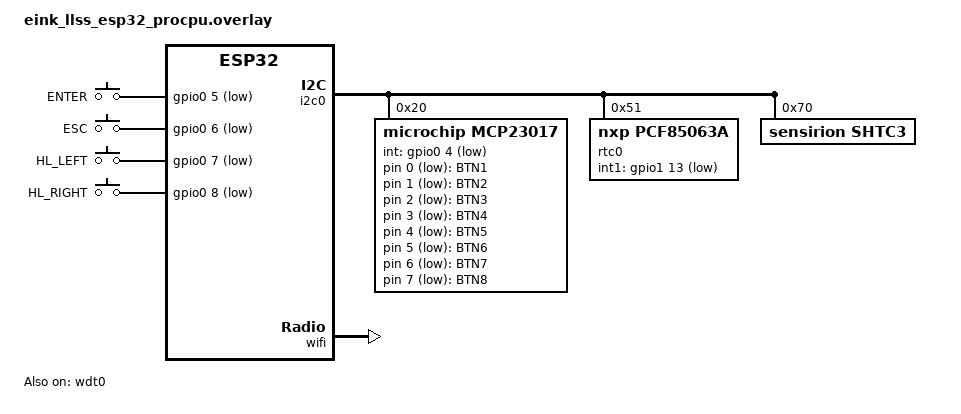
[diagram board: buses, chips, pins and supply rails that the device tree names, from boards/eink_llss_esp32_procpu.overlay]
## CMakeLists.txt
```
cmake_minimum_required(VERSION 3.20.0)

set(NO_BUILD_TYPE_WARNING ON CACHE BOOL "Suppress Zephyr build-type warning for Kconfig-driven optimization levels" FORCE)

list(APPEND BOARD_ROOT ${CMAKE_CURRENT_SOURCE_DIR})

# Pick the host-stub provisioning module on native_sim, the real ESP32
# WiFi captive-portal module everywhere else.
if(BOARD MATCHES "native_sim")
    list(APPEND ZEPHYR_EXTRA_MODULES ${CMAKE_CURRENT_SOURCE_DIR}/modules/wifi_prov_sim)
else()
    list(APPEND ZEPHYR_EXTRA_MODULES ${CMAKE_CURRENT_SOURCE_DIR}/modules/wifi_prov)
endif()

find_package(Zephyr REQUIRED HINTS $ENV{ZEPHYR_BASE})
project(hello_eink)

target_sources(app PRIVATE
    src/main.c
    src/system_flags.c
    src/input_events.c
    src/shtc3_thread.c
    src/display_thread.c
    src/device_ui.c
    src/chicago_18.c
    src/geneva_14.c
    src/geneva_9.c
    src/dseg_bold_italic_200_compressed.c
    src/material_design_40.c
    src/material_design_120.c
    src/llss_thread.c
    src/llss_storage.c
    src/llss_client.c
    src/llss_strip_cache.c
    src/press_feedback.c
    src/net_watchdog.c
    src/sys_watchdog.c
    src/ntp_sync.c
)

# Custom SSD16xx driver is hardware-only — SDL display takes its place on sim.
if(NOT BOARD MATCHES "native_sim")
    target_sources(app PRIVATE src/display_ssd16xx_800x480.c)
    target_sources_ifdef(CONFIG_LLSS_EPD_TEST_SHELL app PRIVATE src/epd_test_shell.c)
endif()

# Temporary deterministic frame pattern self-test.
target_sources_ifdef(CONFIG_LLSS_PATTERN_TEST app PRIVATE src/pattern_check.c)

# Temporary net/heap resource leak telemetry.
target_sources_ifdef(CONFIG_LLSS_NETMEM_DEBUG app PRIVATE src/netmem_debug.c)

# -----------------------------------------------------------------------------
# Selective speed optimization for the render path
#
# The rest of the image stays at -Os (CONFIG_SIZE_OPTIMIZATIONS). That is
# deliberate and load-bearing: this Espressif xtensa GCC miscompiles
# http_parser.c at -Og (Content-Length parses only its first digit -> -EBADMSG
# on every registration). See the note in debug.conf. Do not globally raise the
# optimization level to "fix" rendering.
#
# Instead only the hot render path is built for speed. Per-source and per-target
# options are emitted after the global flags, and GCC honours the last -O, so
# these override -Os for these files only.
#
# Measured hot spots (BTNTRACE, full server frame): LVGL rasterisation ~215 ms,
# our L8->plane conversion in the driver ~85 ms.
set(LLSS_RENDER_OPT_FLAGS -O2)

set_source_files_properties(
    src/display_thread.c
    src/press_feedback.c
    PROPERTIES COMPILE_OPTIONS "${LLSS_RENDER_OPT_FLAGS}"
)

# NOTE: display_ssd16xx_800x480.c is deliberately NOT in that list. -O2 makes
# its L8->plane conversion loop measurably SLOWER (2026-07-23, full 800x480
# frame: wr_us 85 ms at -Os vs 93 ms at -O2, three samples each, ranges do not
# overlap), while -O2 is a large win for LVGL (215 -> 145 ms). Per-file control
# lets us take both. Re-measure with `BTNTRACE ... wr_us=` before changing.

# LVGL itself is the larger share. target_compile_options() does NOT work here:
# Zephyr's global -Os arrives via the zephyr_interface INTERFACE library, which
# CMake emits *after* a target's own options, so -Os would win. Source-file
# properties are emitted last, so set them on LVGL's sources in the module's own
# directory scope (TARGET_DIRECTORY, CMake >= 3.18).
if(TARGET modules__lvgl)
    get_target_property(LLSS_LVGL_SRCS modules__lvgl SOURCES)
    if(LLSS_LVGL_SRCS)
        set_source_files_properties(
            ${LLSS_LVGL_SRCS}
            TARGET_DIRECTORY modules__lvgl
            PROPERTIES COMPILE_OPTIONS "${LLSS_RENDER_OPT_FLAGS}"
        )
    else()
        message(WARNING "modules__lvgl has no SOURCES — LVGL left at -Os")
    endif()
else()
    message(WARNING "modules__lvgl target not found — LVGL left at -Os")
endif()
```

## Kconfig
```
# LLSS Client application configuration
# Kconfig for apps/hello_eink

menu "LLSS Client"

config LLSS_SERVER_URL
	string "LLSS server base URL"
	default "https://eink.tutu.eng.br/api"
	help
	  Base URL of the Low Level Screen Service API, without trailing slash.

config LLSS_FIRMWARE_VERSION
	string "Firmware version reported to LLSS server"
	default "0.1.0"

config LLSS_AP_SSID_PREFIX
	string "WiFi AP SSID prefix for provisioning mode"
	default "LLSS-"

config LLSS_POLL_INTERVAL_MS
	int "Default poll interval in milliseconds"
	default 5000
	range 1000 60000

config LLSS_MIN_POLL_MS
	int "Minimum poll interval in milliseconds"
	default 1000

config LLSS_MAX_POLL_MS
	int "Maximum poll interval in milliseconds"
	default 60000

config LLSS_DISPLAY_BIT_DEPTH
	int "Display bit depth reported to server (8 = PNG)"
	default 8
	help
	  Bit depth registered with LLSS. A value >4 causes the server to
	  return PNG frames instead of raw packed buffers. PNG is decoded
	  on device via LVGL's lodepng integration.

config LLSS_DISPLAY_USE_CUSTOM_FULL_LUT
	bool "Use custom mode-2 GC LUT for full refresh"
	default y
	help
	  Full refresh via the hand-built mode-2 GC waveform (lut_gc_mode2)
	  instead of the factory OTP mode-1 full (0x22=0xF7). On this unit the
	  OTP mode-1 banks under-drive fine vertical detail (dithered regions
	  wash out — 2026-07-04 investigation, docs/epd/WAVEFORMS.md), while
	  every mode-2 waveform renders correctly. Disable only for OTP A/B
	  experiments.

config LLSS_EPD_FAST_FULL_TEMP
	hex "Fast-full fake temperature bank (written to 0x1A)"
	default 0x6A
	help
	  Temperature value faked into the SSD1677 before a fast-full refresh
	  (0x22=0xD7): selects a hotter, shorter factory OTP waveform bank.
	  0x6A is the vendor's "Fast(1.5s)" value for this panel. Sweep with
	  `epd seq d7 - <temp>` before changing.

config LLSS_EPD_TEST_SHELL
	bool "EPD waveform test harness shell commands"
	depends on SHELL
	default y
	help
	  Register the `epd` shell command group (pattern fills, raw 0x22
	  update-sequence experiments, refresh timing/counters) for tuning the
	  SSD1677 refresh strategy over the telnet shell. Hardware-only; no-op
	  on native_sim. See docs/epd/WAVEFORMS.md.

config LLSS_EPD_FAST_DRIVE
	bool "Per-pixel pulse engine (inkboy-style fast drive)"
	default n
	help
	  Low-latency update path ported from kuslota/inkboy: repeated
	  one-frame scans of a custom LUT with the analog rails kept up, the
	  two RAM planes selecting HOLD / toward-black / toward-white per
	  pixel, and a per-pixel pulse budget so a changed pixel is visibly
	  moving after the first scan and saturates over the following ones.
	  Costs 240 KB of SPIRAM (4 bit-sliced budget planes + RED scan
	  image). Disabled: in daily use it left gray stains on the clock's
	  7-segment digits (see docs/epd/WAVEFORMS.md section 6). When built
	  in, it stays off at boot until `epd fmode on`.

config LLSS_TOP_STRIP_HEIGHT
	int "Top button-label strip height (px) reported to server"
	default 50
	help
	  Pixels reserved at the top of the display for the button-label strip.
	  Declared to LLSS at registration so HLSS renders the top strip into
	  that band. Must match the HLSS renderer (HEADER_H in pil_engine.py).
	  HLSS currently hardcodes 50; mismatch causes the device-side press
	  feedback (and any future strip blit) to overflow into app content.
	  0 = no top strip.

config LLSS_BOTTOM_STRIP_HEIGHT
	int "Bottom button-label strip height (px) reported to server"
	default 50
	help
	  Pixels reserved at the bottom of the display for the button-label strip.
	  Declared to LLSS at registration so HLSS renders the bottom strip into
	  that band. Must match the HLSS renderer (FOOTER_H in pil_engine.py).
	  HLSS currently hardcodes 50; mismatch causes the device-side press
	  feedback (and any future strip blit) to overflow into app content.
	  0 = no bottom strip.

config LLSS_TLS_TAG
	int "TLS credential sec_tag for LLSS server CA certificate"
	default 1

config LLSS_DNS_TIMEOUT_MS
	int "DNS resolution timeout in milliseconds"
	default 5000

config LLSS_NTP_SERVER
	string "NTP server hostname"
	default "pool.ntp.org"

config LLSS_NTP_SYNC_INTERVAL_S
	int "NTP sync interval in seconds"
	default 3600

config LLSS_HTTP_TIMEOUT_MS
	int "HTTP request timeout in milliseconds"
	default 15000

config LLSS_HTTP_RECV_SCRATCH_SIZE
	int "HTTP response scratch buffer size in bytes"
	default 65535
	help
	  Size of the temporary HTTP parser scratch buffer used by llss_client.
	  This does not need to hold the full frame body; it only needs enough
	  space for response headers plus streamed body fragments. Keep this
	  modest on ESP32-S3 to avoid burning tens of kilobytes of static RAM.
	  64 KB is a performance-oriented setting for the 48 KB raw LLSS frame
	  path, allowing the client to drain the full response without a parser
	  scratch cap.

config LLSS_HTTP_SOCKET_RCVBUF_SIZE
	int "LLSS TLS socket receive buffer size in bytes"
	default 65535
	range 1024 65535
	help
	  Requested SO_RCVBUF value for the LLSS TLS socket. In Zephyr this
	  determines the TCP receive window when NET_CONTEXT_RCVBUF is enabled.
	  Keep this aligned with the HTTP scratch buffer so the client can drain
	  each advertised window in a single recv call.

config LLSS_FRAME_BUF_SIZE
	int "Maximum frame buffer size in bytes (PNG)"
	default 524288
	help
	  Maximum size of a PNG frame received from the server.
	  800x480 8bpp PNG typically compresses to 30-150 KB.
	  Allocated from SPIRAM.

config LLSS_DEVICE_ID_MAX
	int "Maximum device_id length (including NUL terminator)"
	default 65

config LLSS_DEVICE_SECRET_MAX
	int "Maximum device_secret length (including NUL terminator)"
	default 65

config LLSS_TOKEN_MAX
	int "Maximum token length (including NUL terminator)"
	default 512
	help
	  Maximum size for refresh_token and access_token buffers.

config LLSS_MAX_HOSTNAME
	int "Maximum server hostname length"
	default 64

config LLSS_MAX_BASE_PATH
	int "Maximum server base path length"
	default 64

config LLSS_MAX_URL_LEN
	int "Maximum constructed URL length"
	default 256

config LLSS_PATTERN_TEST
	bool "Deterministic frame pattern self-test (temporary debug)"
	default n
	help
	  Request a synthetic 1bpp pattern from the server (?raw=true&pattern=1)
	  instead of real frame content, and verify it byte-for-byte at each
	  pipeline stage (CP1 fetch, CP2 render) plus triple-buffer slack
	  canaries. The pattern is also visually structured so geometry errors
	  are obvious on the SDL/native_sim display. Temporary debugging aid;
	  keep disabled for normal operation.

config LLSS_NETMEM_DEBUG
	bool "On-demand network/heap resource telemetry (temporary debug)"
	default n
	help
	  Register shell commands that print a single greppable "NETMEM" snapshot
	  on demand: net_pkt RX/TX slab free, net_buf RX/TX data pool avail/max,
	  and the system heap free/alloc/max. Used to chase the slow net-buffer /
	  heap leak without adding periodic console noise. Debug aid; keep disabled
	  for normal operation.

config LLSS_PKT_LIFETIME
	bool "Trace alloc/free lifetime of the leaking net_pkt types (temporary debug)"
	default n
	depends on NET_DEBUG_NET_PKT_ALLOC
	help
	  Emit a greppable "PKTL" printk line for the two net_pkt populations that
	  leak on the device: IPv6 Neighbor Solicitations (net_ipv6_send_ns, TX) and
	  small driver RX segments (eth_esp32_rx, <128 B — where the TLS close_notify
	  lives). Prints alloc (with the NS send-ok/drop path) and the terminal free
	  (with both the alloc and freeing caller). A leaked packet shows an alloc
	  with no matching free; healthy ones show the normal freeing site, so the
	  diff reveals which unref the leaked packet skipped. Low volume by design
	  (NS are rare; the RX <128 B filter excludes bulk frame data). Requires
	  CONFIG_NET_DEBUG_NET_PKT_ALLOC. Debug aid; keep disabled for normal use.

config LLSS_WATCHDOG
	bool "Connectivity watchdog (server-reachability self-heal escalation)"
	default y
	help
	  Escalating self-heal when the device cannot reach the server while Wi-Fi
	  is up: soft reset (session + DNS reinit) on an exponential backoff, then
	  reboot as a last resort. Counters persist in RTC RAM across the reboot.
	  Does NOT include the Task-WDT/hardware-WDT per-thread liveness layer yet.

config LLSS_WATCHDOG_DRY_RUN
	bool "Watchdog dry-run (log 'would reset now' instead of rebooting)"
	default y
	depends on LLSS_WATCHDOG
	help
	  While debugging, the reboot step only logs "WATCHDOG: would reset now ..."
	  and advances its backoff schedule instead of calling sys_reboot(), so the
	  escalation is observable without disrupting a capture. Set =n to arm real
	  reboots.

config LLSS_WATCHDOG_SOFT_RESET_BASE_S
	int "Watchdog: first soft reset after this many seconds offline"
	default 60
	depends on LLSS_WATCHDOG

config LLSS_WATCHDOG_SOFT_RESET_MAX_S
	int "Watchdog: max interval between soft resets (exponential cap), seconds"
	default 600
	depends on LLSS_WATCHDOG

config LLSS_WATCHDOG_REBOOT_BASE_S
	int "Watchdog: first reboot after this many seconds offline"
	default 300
	depends on LLSS_WATCHDOG

config LLSS_WATCHDOG_MAX_PERIOD_S
	int "Watchdog: max reboot backoff period (exponential cap), seconds"
	default 86400
	depends on LLSS_WATCHDOG

config LLSS_HW_WATCHDOG
	bool "System liveness watchdog (supervisor thread + hardware WDT)"
	default n
	select WATCHDOG if !LLSS_HW_WATCHDOG_DRY_RUN
	select WDT_ESP32 if (!LLSS_HW_WATCHDOG_DRY_RUN && SOC_FAMILY_ESPRESSIF_ESP32)
	help
	  A supervisor thread watches registered threads via sys_watchdog.h. Each
	  thread marks itself alive while working and idle before an intentional
	  blocking sleep (idle threads are ignored). A thread that stays active past
	  its timeout is deemed hung. When armed (dry-run off) the supervisor feeds
	  the ESP32 hardware WDT while healthy, so a hung thread or a hung supervisor
	  triggers a hardware reset.

	  Leave OFF while debugging: a hardware reset would erase a halted panic
	  before it can be captured.

config LLSS_HW_WATCHDOG_DRY_RUN
	bool "Liveness watchdog dry-run (log 'would reset', no reboot, no HW WDT)"
	default y
	depends on LLSS_HW_WATCHDOG
	help
	  Supervisor logs "WATCHDOG: would reset now — '<thread>' starved" and keeps
	  running instead of resetting, and the hardware WDT is not armed. Lets the
	  liveness logic be observed without disrupting a capture. Set =n to arm
	  real hardware-backed resets for production.

config LLSS_HW_WATCHDOG_CHECK_MS
	int "Liveness watchdog supervisor check interval (ms)"
	default 5000
	depends on LLSS_HW_WATCHDOG

config LLSS_HW_WATCHDOG_HW_TIMEOUT_MS
	int "Hardware WDT timeout (ms) when armed"
	default 16000
	depends on LLSS_HW_WATCHDOG
	help
	  Must exceed the supervisor check interval comfortably so a healthy
	  supervisor always feeds the HW WDT in time; if the supervisor itself hangs,
	  the HW WDT fires after this period.

endmenu

source "Kconfig.zephyr"
```

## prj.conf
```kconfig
CONFIG_CONSOLE=y
CONFIG_PRINTK=y
CONFIG_SERIAL=y
CONFIG_UART_CONSOLE=y
CONFIG_GPIO=y
CONFIG_I2C=y
CONFIG_SPI=y
# Interrupt-driven SPI completion. Without this the esp32 SPI driver polls:
# transceive() spins in `while (!spi_hal_usr_is_done(hal)) {}` with no yield, so
# writing the two 48 KB panel planes burned ~192 ms of CPU at the display
# thread's priority (12) and starved everything below it — device_ui (14) and
# the shell — for the whole transfer. DMA was already in use; this only moves
# completion to an ISR + semaphore so the thread sleeps instead of spinning.
CONFIG_SPI_ESP32_INTERRUPT=y
CONFIG_LOG=y
CONFIG_SENSOR=y
CONFIG_SHTCX=y
CONFIG_I2C_SHELL=n
CONFIG_DISPLAY=y
CONFIG_MIPI_DBI=y

CONFIG_MFD=y
CONFIG_MFD_AXP2101=y
CONFIG_REGULATOR=y
CONFIG_REGULATOR_AXP192_AXP2101=y
CONFIG_CHARGER=y
CONFIG_CHARGER_AXP2101=y
CONFIG_FUEL_GAUGE=y
CONFIG_FUEL_GAUGE_AXP2101=y
CONFIG_LED=y
CONFIG_LED_AXP192_AXP2101=y

# LVGL - 4-gray grayscale EPD — full-frame buffers in SPIRAM
CONFIG_LVGL=y
# Native 1bpp. The panel is 1bpp, server frames arrive 1bpp, and the driver's
# planes are 1bpp — rendering at 8 or 16 bpp only bought a 1bpp->Nbpp->1bpp
# round trip that cost ~230 ms/frame. At depth 1 LVGL's draw buffer IS the panel
# format, so the whole conversion disappears (see llss_lvgl_flush_cb).
# Consequence: no anti-aliased text and no grays on device-UI screens. The
# dither/GRAY2/GRAY_MARK code stays in the driver but is dormant — revive by
# setting CONFIG_LV_COLOR_DEPTH_8 here and advertising PIXEL_FORMAT_L_8 in
# custom_ssd16xx_get_capabilities().
CONFIG_LV_COLOR_DEPTH_1=y
CONFIG_LV_Z_BITS_PER_PIXEL=1
CONFIG_LV_Z_MEM_POOL_SIZE=131072
CONFIG_LV_Z_VDB_SIZE=100
CONFIG_LV_Z_VDB_CUSTOM_SECTION=y
CONFIG_LV_Z_MEMORY_POOL_CUSTOM_SECTION=y
CONFIG_LV_FONT_MONTSERRAT_14=y
CONFIG_LV_FONT_MONTSERRAT_28=y
CONFIG_LV_FONT_MONTSERRAT_48=y
CONFIG_LV_FONT_FMT_TXT_LARGE=y
CONFIG_LV_USE_FONT_COMPRESSED=y
CONFIG_REBOOT=y

# ---- WiFi / Networking -------------------------------------------------------
CONFIG_WIFI=y
CONFIG_NETWORKING=y
CONFIG_NET_IPV4=y
CONFIG_NET_IPV6=y
# NOTE on MTU/MSS: TCP MSS follows the *runtime* interface MTU
# (net_tcp_get_supported_mss -> net_if_get_mtu), so on the real device the link
# MTU set by DHCPv4 (IPv4) / IPv6 Router Advertisement (auto-applied in
# ipv6_nbr.c) governs it — do NOT hardcode CONFIG_NET_IPV4_MTU here or we'd
# stop respecting the network's advertised MTU (e.g. 1440 on the home LAN).
# The sim has no DHCP, so its MTU is pinned in boards/native_sim_64.conf.
# (Zephyr's CONFIG_NET_IPV4_MTU default is 576 = the slow-frame-fetch culprit
# when nothing raises the live iface MTU; verify DHCPv4 actually sets it.)
# IPv6 SLAAC is fully automatic: NET_IPV6_ND, NET_IPV6_NBR_CACHE, NET_IPV6_DAD
# and NET_IPV6_IID_EUI_64 all default to y when NET_IPV6=y.
# The router sends an RA with a prefix → Zephyr builds a global address via EUI-64
# IID → DAD completes (~2 s) → NET_EVENT_IPV6_ADDR_ADD fires.
CONFIG_NET_TCP=y
CONFIG_NET_UDP=y
CONFIG_NET_SOCKETS=y
CONFIG_NET_CONTEXT_RCVBUF=y
CONFIG_NET_SOCKETS_CONNECT_TIMEOUT=10000
CONFIG_NET_DHCPV4=y
CONFIG_NET_DHCPV4_OPTION_CALLBACKS=y
CONFIG_NET_L2_ETHERNET=y
CONFIG_NET_L2_WIFI_MGMT=y
CONFIG_NET_MGMT=y
CONFIG_NET_MGMT_EVENT=y
CONFIG_NET_MGMT_EVENT_INFO=y
CONFIG_NET_MGMT_EVENT_QUEUE_SIZE=10
CONFIG_NET_MGMT_EVENT_STACK_SIZE=4096
CONFIG_NET_CONFIG_AUTO_INIT=n
CONFIG_NET_CONNECTION_MANAGER=y
CONFIG_NET_IF_MAX_IPV4_COUNT=1
CONFIG_NET_IF_MAX_IPV6_COUNT=1
# LLSS frame fetches are latency-sensitive and benefit from larger network
# fragments than Zephyr's conservative 128-byte default. A bigger RX pool lets
# the socket-backed receive window absorb larger bursts without stalling.
CONFIG_NET_BUF_DATA_SIZE=512
CONFIG_NET_PKT_RX_COUNT=40
CONFIG_NET_PKT_TX_COUNT=16
CONFIG_NET_BUF_RX_COUNT=160
CONFIG_NET_BUF_TX_COUNT=80
CONFIG_NET_SOCKETS_SERVICE_STACK_SIZE=4096
CONFIG_ZVFS_POLL_MAX=8

# DHCP server for AP captive portal
CONFIG_NET_DHCPV4_SERVER=y

# Flash + NVS for persistent WiFi credentials
CONFIG_FLASH=y
CONFIG_FLASH_MAP=y
CONFIG_NVS=y
# Phase B: the TLS session buffer in llss_client.c is placed in .rtc_noinit
# via __attribute__((section(".rtc_noinit"))).  No Kconfig reservation is
# needed — the ESP32-S3 RTC slow RAM (8 KB) is always available.

# Thread stacks — WiFi + portal need more room
CONFIG_MAIN_STACK_SIZE=16384
CONFIG_SYSTEM_WORKQUEUE_STACK_SIZE=4096

# ---- LLSS HTTP client -------------------------------------------------------
CONFIG_HTTP_CLIENT=y
CONFIG_NET_HTTP_LOG_LEVEL_INF=y
CONFIG_NET_SOCKETS_SOCKOPT_TLS=y
CONFIG_NET_SOCKETS_TLS_MAX_CONTEXTS=4
CONFIG_TLS_CREDENTIALS=y
CONFIG_TLS_MAX_CREDENTIALS_NUMBER=4
CONFIG_MBEDTLS=y
CONFIG_MBEDTLS_BUILTIN=y
# Enable both TLS 1.2 (cert handshake, ~3 s on ESP32-S3) and TLS 1.3
# (ECDHE ephemeral mode, session tickets for cross-sleep resumption).
CONFIG_MBEDTLS_SSL_PROTO_TLS1_2=y
# === TLS 1.3 KILL SWITCH (2026-05-19) ================================
# TLS 1.3 NewSessionTicket is sent AFTER the handshake; Zephyr does
# not currently catch it and feed it into the persistent session
# cache, so cross-boot resume silently fails under 1.3.
# Pinned to TLS 1.2 here: tickets ride inside the 1.2 handshake and
# CONFIG_NET_SOCKETS_TLS_SESSION_CACHE_PERSISTENT picks them up.
#
# IMPORTANT: the three CIPHERSUITE_TLS1_3_* lines below each do
# `select MBEDTLS_SSL_PROTO_TLS1_3` in Zephyr's mbedTLS Kconfig
# (modules/mbedtls/Kconfig.ciphersuites). They force the parent ON
# even when we set it =n here, so they must also be disabled.
# The two KEY_EXCHANGE_MODE_* lines live inside `if TLS1_3` and are
# Kconfig-invisible while TLS1_3 is off; commented to silence warnings.
#
# To re-enable TLS 1.3: flip TLS1_3=n to =y AND uncomment all five
# CONFIG_TLS_1_3 lines below.
CONFIG_MBEDTLS_SSL_PROTO_TLS1_3=n
# CONFIG_TLS_1_3 CONFIG_MBEDTLS_SSL_TLS1_3_KEY_EXCHANGE_MODE_EPHEMERAL_ENABLED=y
# CONFIG_TLS_1_3 CONFIG_MBEDTLS_SSL_TLS1_3_KEY_EXCHANGE_MODE_PSK_EPHEMERAL_ENABLED=y
# =====================================================================
CONFIG_MBEDTLS_SSL_SERVER_NAME_INDICATION=y
CONFIG_MBEDTLS_BASE64_C=y
CONFIG_MBEDTLS_PEM_PARSE_C=y
CONFIG_MBEDTLS_PKCS5_C=y
# Session tickets: server emits a NewSessionTicket post-handshake; Zephyr's
# 1-slot in-memory cache stores it so reconnects within the same boot use the
# abbreviated handshake (~100-150 ms).
CONFIG_MBEDTLS_SSL_SESSION_TICKETS=y
CONFIG_NET_SOCKETS_TLS_MAX_CLIENT_SESSION_COUNT=1
# Persist the TLS session cache across reboots / deep sleep via the Settings
# subsystem on NVS.  First boot does a full handshake; every subsequent boot
# (cold or deep-sleep wake) restores the ticket and resumes in ~100-200 ms.
# Requires CONFIG_SETTINGS=y + CONFIG_SETTINGS_NVS=y (already set below).
# Added on Zephyr main in 2026-04 (commit 93eb99a2); Dockerfile pins past that.
CONFIG_NET_SOCKETS_TLS_SESSION_CACHE_PERSISTENT=y
CONFIG_NET_SOCKETS_TLS_SESSION_CACHE_PERSISTENT_PREFIX="tls/sess"
# PSA crypto core — required by TLS 1.3 (HKDF key schedule, PSA_WANT_* symbols).
CONFIG_MBEDTLS_PSA_CRYPTO_C=y
# TLS 1.3 key schedule and the enabled TLS 1.2 suites are driven by PSA_WANT_*
# selections in Zephyr 4.4.
CONFIG_PSA_WANT_ALG_HKDF_EXTRACT=y
CONFIG_PSA_WANT_ALG_HKDF_EXPAND=y
CONFIG_PSA_WANT_ALG_SHA_256=y
CONFIG_PSA_WANT_ALG_GCM=y
CONFIG_PSA_WANT_ALG_SHA_384=y
CONFIG_PSA_WANT_ALG_SHA_512=y
# PSA ECDH/ECDSA support is pulled in by the selected TLS 1.2/1.3 suites.
CONFIG_PSA_WANT_ALG_ECDH=y
CONFIG_PSA_WANT_ALG_ECDSA=y
CONFIG_PSA_WANT_ALG_RSA_PKCS1V15_SIGN=y
CONFIG_PSA_WANT_KEY_TYPE_AES=y
CONFIG_PSA_WANT_KEY_TYPE_ECC_PUBLIC_KEY=y
CONFIG_PSA_WANT_KEY_TYPE_ECC_KEY_PAIR_GENERATE=y
CONFIG_PSA_WANT_KEY_TYPE_RSA_KEY_PAIR_IMPORT=y
CONFIG_PSA_WANT_KEY_TYPE_RSA_PUBLIC_KEY=y
CONFIG_PSA_WANT_ECC_SECP_R1_256=y
CONFIG_PSA_WANT_ECC_SECP_R1_384=y
CONFIG_PSA_WANT_ECC_MONTGOMERY_255=y
# TLS 1.3 ciphersuites — see TLS 1.3 KILL SWITCH above.
# These `select MBEDTLS_SSL_PROTO_TLS1_3`, so they MUST stay disabled
# while the kill switch is active. To re-enable TLS 1.3: uncomment.
# CONFIG_TLS_1_3 CONFIG_MBEDTLS_CIPHERSUITE_TLS1_3_AES_128_GCM_SHA256=y
# CONFIG_TLS_1_3 CONFIG_MBEDTLS_CIPHERSUITE_TLS1_3_AES_256_GCM_SHA384=y
# CONFIG_TLS_1_3 CONFIG_MBEDTLS_CIPHERSUITE_TLS1_3_CHACHA20_POLY1305_SHA256=y
CONFIG_MBEDTLS_ENABLE_HEAP=y
CONFIG_MBEDTLS_HEAP_SIZE=102400
CONFIG_MBEDTLS_HAVE_TIME_DATE=y
# TLS record buffer — must fit the full server certificate chain during handshake
CONFIG_MBEDTLS_SSL_MAX_CONTENT_LEN=16384
# TLS 1.2 ciphersuites for Let's Encrypt ECDSA P-256/P-384 leaf certs.
# These each `select`: MBEDTLS_SSL_PROTO_TLS1_2, MBEDTLS_X509_CRT_PARSE_C,
# MBEDTLS_KEY_EXCHANGE_ECDHE_ECDSA_ENABLED, and the PSA_WANT_* algos.
# When TLS 1.3 was enabled, X509_CRT_PARSE_C and friends came in via 1.3's
# selects; with 1.3 off (kill switch above) we must enable a TLS 1.2 suite
# explicitly or mbedtls_check_config.h rejects the build.
CONFIG_MBEDTLS_CIPHERSUITE_TLS_ECDHE_ECDSA_WITH_AES_128_GCM_SHA256=y
CONFIG_MBEDTLS_CIPHERSUITE_TLS_ECDHE_ECDSA_WITH_AES_256_GCM_SHA384=y
# KEY_EXCHANGE_ECDHE_ECDSA_ENABLED is now selected by the ciphersuites above;
# the manual =y here used to silently drop to n because its X509_CRT_PARSE_C
# dependency was unmet. Kept commented as documentation.
# CONFIG_MBEDTLS_KEY_EXCHANGE_ECDHE_ECDSA_ENABLED=y
CONFIG_JSON_LIBRARY=y
CONFIG_DNS_RESOLVER=y
CONFIG_DNS_RESOLVER_MAX_SERVERS=2
CONFIG_DNS_NUM_CONCUR_QUERIES=3
# Built-in DHCPv4 option 6 -> DNS resolver integration
CONFIG_NET_DHCPV4_OPTION_DNS_ADDRESS=y
# Single interface — safe to clean up stale entries on reconfigure
CONFIG_DNS_RECONFIGURE_CLEANUP=y

# RTC (PCF85063ATL) + NTP time sync
CONFIG_RTC=y
CONFIG_SNTP=y

# ---- LLSS credential storage ------------------------------------------------
CONFIG_SETTINGS=y
CONFIG_SETTINGS_NVS=y

# ---- Input subsystem --------------------------------------------------------
CONFIG_INPUT=y
CONFIG_GPIO_MCP230XX=y
# Input events (button up/down) must be processed promptly — the press-vs-
# long-press state machine (llss_thread.c) depends on the release being handled
# within LONG_PRESS_MS. The input thread defaults to the LOWEST app priority
# (K_LOWEST_APPLICATION_THREAD_PRIO = 14), BELOW the display thread (12); waking
# the display thread for press feedback would then preempt the input thread and
# starve the release past the long-press timeout, turning every tap into a
# LONG_PRESS. Put the input thread just above the display renderer (still below
# the LLSS/network thread at 10) so releases are never starved by rendering.
CONFIG_INPUT_MODE_THREAD=y
CONFIG_INPUT_THREAD_PRIORITY_OVERRIDE=y
CONFIG_INPUT_THREAD_PRIORITY=11

# ---- LLSS display format ----------------------------------------------------
# bit_depth=1: server returns the panel-native 1bpp packed framebuffer via
# ?raw=true (48000 B, MSB-first, Floyd-Steinberg dithered). The device blits it
# straight to panel RAM with no PNG/LVGL decode. Partial-refresh capable.
# Frame buffer holds the 48000 B packed frame (65 KB ceiling, ample headroom).
CONFIG_LLSS_DISPLAY_BIT_DEPTH=1
CONFIG_LLSS_FRAME_BUF_SIZE=65536

# Deterministic frame pattern self-test (debug tool, normally OFF). Set =y to
# request ?raw=true&pattern=1 and verify bytes at CP1 (fetch) / CP2 (render) +
# slot canaries. Found the recv_buf/ctx.buf aliasing bug on 2026-06-09.
# CONFIG_LLSS_PATTERN_TEST=y

# ---- LVGL lodepng PNG decoder -----------------------------------------------
CONFIG_LV_USE_LODEPNG=y

# ---- Zephyr shell (USB CDC-ACM, same /dev/ttyACM0 as console) ---------------
CONFIG_SHELL=y
CONFIG_SHELL_BACKEND_SERIAL=y
CONFIG_NET_SHELL=y
CONFIG_KERNEL_SHELL=y
# Telnet shell backend: same shell reachable over the network (TCP port 23) once
# WiFi is up, in parallel with the USB-CDC serial backend. Lets us drive `net
# iface`, `net allocs`, etc. without a USB cable on the deployed device.
CONFIG_SHELL_BACKEND_TELNET=y
```

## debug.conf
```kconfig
# Debug profile for source-level stepping
CONFIG_DEBUG=y
CONFIG_ASSERT=y
CONFIG_THREAD_NAME=y
CONFIG_DEBUG_THREAD_INFO=y
# NOTE: do NOT use CONFIG_DEBUG_OPTIMIZATIONS (-Og) on this target. The Espressif
# xtensa GCC miscompiles http_parser.c at -Og: in header_states() the
#   enum header_states h_state = *header_state;   (parser.c ~line 529)
# deref yields garbage, so the Content-Length value parser only registers the
# FIRST digit (e.g. "182" -> 1, "70" -> 7). The body then "completes" after 1
# byte, the next byte trips HPE_INVALID_CONSTANT (err 30) -> http_client_req
# -EBADMSG (-77), and device registration (and every Content-Length response)
# silently fails. -Os and -O0 are unaffected. Pin -Os here.
CONFIG_SIZE_OPTIMIZATIONS=y
CONFIG_FRAME_POINTER=y

# Network/TLS debug logs on UART shell
CONFIG_NET_LOG=y
CONFIG_NET_SOCKETS_LOG_LEVEL_INF=y
CONFIG_MBEDTLS_DEBUG=n
CONFIG_MBEDTLS_LOG_LEVEL_DBG=n
CONFIG_DNS_RESOLVER_LOG_LEVEL_DBG=n
CONFIG_LOG_DEFAULT_LEVEL=3
# Keep DEFERRED logging (the default). Do NOT use CONFIG_LOG_MODE_IMMEDIATE on
# this target: immediate mode formats each line on the caller's stack and emits
# synchronously, which overflows the small WiFi/net callback stacks and killed
# the device during association (observed 2026-06-18). Instead, prevent the
# "--- N messages dropped ---" overflow with a larger deferred buffer. The big
# offender (per-packet net_pkt DBG) is already disabled above, and the ESP32
# panic backtrace is printed directly by the fatal handler, not via this buffer.
CONFIG_LOG_BUFFER_SIZE=8192

# ---- Net-buffer / heap leak hunt (project_esp32_netbuf_crash) ----------------
# Enable on-demand `diag netmem` telemetry: net_pkt RX/TX slab free, net_buf
# RX/TX pool avail/max, and the Zephyr system (k_malloc) heap free/alloc/max.
# Use it when you want a snapshot without periodic console noise.
CONFIG_LLSS_NETMEM_DEBUG=y
# Required for the net_buf pool avail/max counters the telemetry reads.
CONFIG_NET_BUF_POOL_USAGE=y
# Required for the system-heap free/alloc/max columns (sys_heap_runtime_stats_get).
CONFIG_SYS_HEAP_RUNTIME_STATS=y
# net_pkt allocation accounting. NOTE: do NOT enable NET_PKT_LOG_LEVEL_DBG — it
# emits a per-packet "net_pkt_print" line (~10+/s) that floods a multi-hour
# capture and perturbs timing. The alloc-failure lines we care about
# ("esp32_wifi: Failed to allocate net buffer", net-core buffer warnings) are
# LOG_ERR/WRN and show at the default level anyway.
CONFIG_NET_STATISTICS=y
CONFIG_NET_STATISTICS_USER_API=y
# Per-allocation caller tracking so `net allocs` reports the func():line that
# allocated each net_pkt/net_buf still in use — used to pinpoint the recovery-
# path leak (~1-2 buffers per sustained outage, not reclaimed). After an outage,
# the leaked ones show as "used" with a DNS/socket alloc caller and no free.
CONFIG_NET_DEBUG_NET_PKT_ALLOC=y
# Lifetime trace for the two leaking net_pkt populations (NS TX + small RX where
# the TLS close_notify lives). Emits greppable "PKTL" printk lines at alloc, the
# NS send-ok/drop path, and the terminal free (with alloc+free caller). A leaked
# pkt = alloc with no matching free; healthy ones reveal the normal free site.
# Disabled for the TX-drain hunt: the PKTL flood only traces NS/RX<128 and drops
# console lines, which garbles `net allocs` / NETMEM output. net_pkt accounting
# (CONFIG_NET_DEBUG_NET_PKT_ALLOC above) stays on so `net allocs` still names the
# leaked TX packets' caller + refcount.
CONFIG_LLSS_PKT_LIFETIME=n
# System liveness watchdog in DRY-RUN: supervisor thread + per-thread idle/alive
# beats, logs "WATCHDOG: would reset now — '<thread>' starved" on a hang but does
# NOT reset and does NOT arm the hardware WDT, so panics still halt for capture.
# (Kconfig default is off; this enables observation during debugging. Arm real
# HW-backed resets for production with CONFIG_LLSS_HW_WATCHDOG_DRY_RUN=n.)
CONFIG_LLSS_HW_WATCHDOG=y

# Per-thread stack high-water marks via Zephyr's standard shell command,
# with periodic auto-prints disabled.
CONFIG_THREAD_ANALYZER=y
CONFIG_THREAD_ANALYZER_AUTO=n
CONFIG_THREAD_ANALYZER_USE_PRINTK=y
CONFIG_THREAD_RUNTIME_STATS=y
```

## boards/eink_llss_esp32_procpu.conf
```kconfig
# ESP32-S3 specific WiFi config for eink_llss_esp32 board

CONFIG_WIFI_ESP32=y
CONFIG_ESP32_WIFI_STA_AUTO_DHCPV4=y
CONFIG_WIFI_NM=y

# Use SPIRAM heap for WiFi — frees ~40 KB DRAM (DRAM was at 93%+)
CONFIG_ESP_WIFI_HEAP_SPIRAM=y

# N16R8: Enable 8MB OPI PSRAM
CONFIG_ESP_SPIRAM=y
CONFIG_SPIRAM_MODE_OCT=y

# Place WiFi + net stack noinit data in SPIRAM (libsubsys__net__ip.a etc.)
CONFIG_ESP32_WIFI_NET_ALLOC_SPIRAM=y

# SPIRAM heap: runtime allocations (WiFi internals, k_malloc, etc.)
CONFIG_ESP_SPIRAM_HEAP_SIZE=4194304

# MbedTLS 100 KB heap → SPIRAM via .mbedtls_heap section (ESP32-S3 default.ld
# already has KEEP(*(.mbedtls_heap*)) inside .ext_ram.data / PSRAM region).
CONFIG_MBEDTLS_HEAP_CUSTOM_SECTION=y

# DRAM heap: kernel-internal allocs only — 32 KB is sufficient
# (Zephyr auto-bumps this to its computed minimum ~45 KB; value documents intent)
CONFIG_HEAP_MEM_POOL_SIZE=32768

# MCP23017 GPIO expander (I2C-based)
CONFIG_GPIO_MCP230XX=y

# Enable Zephyr crypto subsystem so the ESP32 hardware AES accelerator
# (espressif,esp32-aes, already status=okay in the SoC DTSI) is compiled in.
# CRYPTO_ESP32 and CRYPTO_ESP32_AES both select themselves via default=y
# when DT_HAS_ESPRESSIF_ESP32_AES_ENABLED is set.
CONFIG_CRYPTO=y
CONFIG_CRYPTO_ESP32_AES=y
# SHA hardware not needed here; disable to recover ~700 bytes DRAM BSS
CONFIG_CRYPTO_ESP32_SHA=n
# TLS can have two concurrent fetches — 2 AES sessions
CONFIG_ESP32_CRYPTO_AES_SESSIONS_MAX=2

# (duplicate removed)
```

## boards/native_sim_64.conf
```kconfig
# Kconfig overlay for the native_sim board variant.
#
# Strips ESP32-only hardware (PMIC, charger, fuel gauge, MCP230XX, SSD16xx,
# WiFi) and substitutes host-side equivalents: SDL display, native TAP
# ethernet, in-tree flash simulator. Application code (LVGL, mbedTLS, TLS
# stack, LLSS client, NVS settings) is shared with the ESP32 build.

# ---- Drop ESP32-only peripherals -------------------------------------------
CONFIG_I2C=n
CONFIG_SENSOR=n
CONFIG_SHTCX=n
CONFIG_SPI=n
CONFIG_MIPI_DBI=n
CONFIG_MFD=n
CONFIG_MFD_AXP2101=n
CONFIG_REGULATOR=n
CONFIG_REGULATOR_AXP192_AXP2101=n
CONFIG_CHARGER=n
CONFIG_CHARGER_AXP2101=n
CONFIG_FUEL_GAUGE=n
CONFIG_FUEL_GAUGE_AXP2101=n
CONFIG_LED=n
CONFIG_LED_AXP192_AXP2101=n
CONFIG_GPIO_MCP230XX=n
CONFIG_INPUT=y

# ---- Display: SDL host window in 8-bpp greyscale ---------------------------
CONFIG_SDL_DISPLAY=y
# LVGL custom-section placement assumes Espressif PSRAM linker fragments;
# fall back to plain BSS on the host.
CONFIG_LV_Z_VDB_CUSTOM_SECTION=n
CONFIG_LV_Z_MEMORY_POOL_CUSTOM_SECTION=n

# ---- Networking: TAP instead of WiFi ---------------------------------------
CONFIG_WIFI=n
CONFIG_NET_L2_WIFI_MGMT=n
CONFIG_NET_DHCPV4=n
CONFIG_NET_DHCPV4_SERVER=n
CONFIG_NET_DHCPV4_OPTION_CALLBACKS=n
CONFIG_NET_DHCPV4_OPTION_DNS_ADDRESS=n
CONFIG_ETH_NATIVE_TAP=y
# Pin a STABLE MAC for the sim. The default RANDOM_MAC randomizes the last
# octet every boot, and the firmware derives its hardware_id from the MAC
# (build_hardware_id). A changing hardware_id breaks re-authentication: once
# the refresh token is rejected, full auth sends a NEW hardware_id the server
# never authorized, so the device falls to "pending" and hangs at full auth.
# This MAC reproduces hardware_id 02005e0053ba (the registered sim device).
CONFIG_ETH_NATIVE_TAP_RANDOM_MAC=n
CONFIG_ETH_NATIVE_TAP_MAC_ADDR="02:00:5e:00:53:ba"
# The sim uses a static IP (no DHCP), so the live iface MTU is whatever
# CONFIG_NET_IPV4_MTU is. Zephyr's 576-byte default advertises a ~536 B TCP MSS,
# so a ~12 KB server frame arrives as ~23 tiny segments and takes ~3.6 s to
# receive (slow-start + delayed ACK) — the press->frame ~5 s latency. Pin it to
# 1440 (this LAN's advertised MTU) so the sim matches the path and fetches fast.
# On the real device the MTU comes from DHCP/RA instead (see prj.conf note).
CONFIG_NET_IPV4_MTU=1440
# Static IP — host-side setup script assigns 192.0.2.0/24 with .2 as the
# gateway and the simulator taking .1.
CONFIG_NET_CONFIG_AUTO_INIT=y
CONFIG_NET_CONFIG_SETTINGS=y
CONFIG_NET_CONFIG_NEED_IPV4=y
CONFIG_NET_CONFIG_NEED_IPV6=y
CONFIG_NET_CONFIG_NEED_IPV6_ROUTER=y
CONFIG_NET_CONFIG_MY_IPV4_ADDR="192.0.2.1"
CONFIG_NET_CONFIG_MY_IPV4_NETMASK="255.255.255.0"
CONFIG_NET_CONFIG_MY_IPV4_GW="192.0.2.2"
# Match the ESP32-S3 transport limits more closely: do not give native_sim a
# synthetic giant TCP receive window or oversized HTTP scratch buffer, since
# those produce better-than-hardware fetch timings. The simulator still keeps
# its pinned MTU because it has no DHCP/RA to raise the live interface MTU.
CONFIG_NET_TCP_MAX_RECV_WINDOW_SIZE=0
# Match the LAN resolver Docker's daemon.json hands every container on this
# host. The network forbids egress to public DNS (1.1.1.1, 8.8.8.8), so the
# sim has to use the same in-LAN resolver. IPv4 DNS resolves AAAA records
# perfectly well — the v6-only LLSS server hostname comes back unchanged,
# so no separate IPv6 resolver is needed.
CONFIG_DNS_SERVER_IP_ADDRESSES=y
CONFIG_DNS_SERVER1="192.168.213.1"

# ---- Storage: file-backed flash simulator ----------------------------------
# Backing file is selected at runtime via --flash=<path> on the command line.
CONFIG_FLASH_SIMULATOR=y
CONFIG_FLASH_PAGE_LAYOUT=y

# ---- RTC: software emulator (no PCF85063A on host) -------------------------
CONFIG_RTC_EMUL=y

# ---- Debug build by default ------------------------------------------------
# Keep the usual native_sim debug surface. For the transport experiment we are
# only aligning RX-side parameters with the ESP32-S3, not code generation.
CONFIG_DEBUG=y
CONFIG_ASSERT=y
CONFIG_THREAD_NAME=y
CONFIG_DEBUG_THREAD_INFO=y
CONFIG_FRAME_POINTER=y

# ---- libc: picolibc matches the ESP32 build's surface ----------------------
# Host glibc requires _GNU_SOURCE for strnlen / gmtime_r; picolibc exposes
# them unconditionally and aligns sim ↔ device behaviour.
CONFIG_PICOLIBC=y

# ---- Posix bits ------------------------------------------------------------
# Native_sim provides a virtual UART that maps to stdio; console + shell work
# unchanged.
CONFIG_POSIX_API=y

# ---- Native debug convenience ----------------------------------------------
# Keep the regular shell available over the network so native_sim can run
# under a normal debugger while interaction happens from a separate terminal.
CONFIG_SHELL_BACKEND_TELNET=y
```

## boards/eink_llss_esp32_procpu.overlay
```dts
/ {
	chosen {
		zephyr,rtc = &rtc0;
	};

	gpio_keys: gpio_keys {
		compatible = "gpio-keys";

		/* Direct GPIO buttons */
		enter_btn: enter_btn {
			gpios = <&gpio0 5 (GPIO_PULL_UP | GPIO_ACTIVE_LOW)>;
			label = "ENTER";
			zephyr,code = <INPUT_KEY_ENTER>;
		};

		esc_btn: esc_btn {
			gpios = <&gpio0 6 (GPIO_PULL_UP | GPIO_ACTIVE_LOW)>;
			label = "ESC";
			zephyr,code = <INPUT_KEY_ESC>;
		};

		hl_left_btn: hl_left_btn {
			gpios = <&gpio0 7 (GPIO_PULL_UP | GPIO_ACTIVE_LOW)>;
			label = "HL_LEFT";
			zephyr,code = <INPUT_KEY_LEFT>;
		};

		hl_right_btn: hl_right_btn {
			gpios = <&gpio0 8 (GPIO_PULL_UP | GPIO_ACTIVE_LOW)>;
			label = "HL_RIGHT";
			zephyr,code = <INPUT_KEY_RIGHT>;
		};

		/* MCP23017 buttons — 8 bottom row keys */
		btn1: btn1 {
			gpios = <&mcp23017 0 (GPIO_PULL_UP | GPIO_ACTIVE_LOW)>;
			label = "BTN1";
			zephyr,code = <INPUT_KEY_1>;
		};

		btn2: btn2 {
			gpios = <&mcp23017 1 (GPIO_PULL_UP | GPIO_ACTIVE_LOW)>;
			label = "BTN2";
			zephyr,code = <INPUT_KEY_2>;
		};

		btn3: btn3 {
			gpios = <&mcp23017 2 (GPIO_PULL_UP | GPIO_ACTIVE_LOW)>;
			label = "BTN3";
			zephyr,code = <INPUT_KEY_3>;
		};

		btn4: btn4 {
			gpios = <&mcp23017 3 (GPIO_PULL_UP | GPIO_ACTIVE_LOW)>;
			label = "BTN4";
			zephyr,code = <INPUT_KEY_4>;
		};

		btn5: btn5 {
			gpios = <&mcp23017 4 (GPIO_PULL_UP | GPIO_ACTIVE_LOW)>;
			label = "BTN5";
			zephyr,code = <INPUT_KEY_5>;
		};

		btn6: btn6 {
			gpios = <&mcp23017 5 (GPIO_PULL_UP | GPIO_ACTIVE_LOW)>;
			label = "BTN6";
			zephyr,code = <INPUT_KEY_6>;
		};

		btn7: btn7 {
			gpios = <&mcp23017 6 (GPIO_PULL_UP | GPIO_ACTIVE_LOW)>;
			label = "BTN7";
			zephyr,code = <INPUT_KEY_7>;
		};

		btn8: btn8 {
			gpios = <&mcp23017 7 (GPIO_PULL_UP | GPIO_ACTIVE_LOW)>;
			label = "BTN8";
			zephyr,code = <INPUT_KEY_8>;
		};
	};
};

&i2c0 {
	mcp23017: mcp23017@20 {
		compatible = "microchip,mcp23017";
		reg = <0x20>;
		gpio-controller;
		#gpio-cells = <2>;
		ngpios = <16>;
		int-gpios = <&gpio0 4 (GPIO_PULL_UP | GPIO_ACTIVE_LOW)>;
		status = "okay";
	};

	/* PCF85063ATL RTC — shared I2C bus with AXP2101
	 * I2C address: 0x51 (fixed)
	 * INT pin: GPIO45 = gpio1 pin 13 (open-drain, active-low)
	 */
	rtc0: pcf85063@51 {
		compatible = "nxp,pcf85063a";
		reg = <0x51>;
		int1-gpios = <&gpio1 13 (GPIO_PULL_UP | GPIO_ACTIVE_LOW)>;
		status = "okay";
	};

	shtc3: shtc3@70 {
		compatible = "sensirion,shtc3", "sensirion,shtcx";
		reg = <0x70>;
		measure-mode = "low-power";
		status = "okay";
	};
};

&wifi {
	status = "okay";
};

/* TIMG0 watchdog — used by the system liveness watchdog (CONFIG_LLSS_HW_WATCHDOG)
 * when armed. Harmless when the watchdog is disabled or in dry-run (no driver
 * bound unless CONFIG_WDT_ESP32 is selected). */
&wdt0 {
	status = "okay";
};
```

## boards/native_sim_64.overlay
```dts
/*
 * Devicetree overlay for the native_sim/native/64 board variant.
 *
 * - Resizes the built-in SDL display to match the Waveshare 7.5" 800x480
 *   panel (rendered as 8-bit luminance — the LVGL pipeline already runs in
 *   8 bpp; the 4-level quantization in display_thread.c is unchanged).
 * - Publishes the built-in zephyr,rtc-emul as the zephyr,rtc chosen so
 *   ntp_sync.c (which reads DT_CHOSEN(zephyr_rtc)) reaches it the same
 *   way the ESP32 overlay exposes its PCF85063A.
 */

/ {
	chosen {
		zephyr,rtc = &rtc;
	};
};

&sdl_dc {
	width = <800>;
	height = <480>;
};
```

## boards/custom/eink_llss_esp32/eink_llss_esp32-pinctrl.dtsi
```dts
#include <zephyr/dt-bindings/pinctrl/esp-pinctrl-common.h>
#include <dt-bindings/pinctrl/esp32s3-pinctrl.h>
#include <zephyr/dt-bindings/pinctrl/esp32s3-gpio-sigmap.h>

&pinctrl {
	uart0_default: uart0_default {
		group1 {
			pinmux = <UART0_TX_GPIO43>;
			output-high;
		};

		group2 {
			pinmux = <UART0_RX_GPIO44>;
			bias-pull-up;
		};
	};

	i2c0_default: i2c0_default {
		group1 {
			pinmux = <I2C0_SDA_GPIO41>,
				 <I2C0_SCL_GPIO42>;
			bias-pull-up;
			drive-open-drain;
			output-high;
		};
	};

	spi2_epd_pins: spi2_epd_pins {
		group1 {
			pinmux = <SPIM2_SCLK_GPIO11>,
				 <SPIM2_CSEL_GPIO10>;
		};

		group2 {
			pinmux = <SPIM2_MOSI_GPIO12>;
			output-low;
		};
	};
};
```

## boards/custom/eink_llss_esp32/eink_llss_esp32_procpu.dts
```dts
/dts-v1/;

#include <espressif/esp32s3/esp32s3_wroom_n16r8.dtsi>
#include <zephyr/dt-bindings/input/input-event-codes.h>
#include <espressif/partitions_0x0_amp.dtsi>
#include "eink_llss_esp32-pinctrl.dtsi"

/ {
	model = "E-Ink LLSS ESP32 PROCPU";
	compatible = "custom,eink-llss-esp32", "espressif,esp32s3";

	aliases {
		i2c-0 = &i2c0;
		spi-0 = &spi2;
		uart-0 = &uart0;
		sw0 = &button0;
		watchdog0 = &wdt0;
	};

	chosen {
		zephyr,sram = &sram1;
		zephyr,console = &usb_serial;
		zephyr,shell-uart = &usb_serial;
		zephyr,flash = &flash0;
		zephyr,code-partition = &slot0_partition;
		zephyr,display = &epd0;
	};

	buttons {
		compatible = "gpio-keys";

		button0: button_0 {
			gpios = <&gpio0 0 (GPIO_PULL_UP | GPIO_ACTIVE_LOW)>;
			label = "BOOT Button";
			zephyr,code = <INPUT_KEY_0>;
		};
	};

	mipi_dbi_epd: mipi_dbi_epd {
		compatible = "zephyr,mipi-dbi-spi";
		status = "okay";
		spi-dev = <&spi2>;
		dc-gpios = <&gpio0 9 GPIO_ACTIVE_HIGH>;
		reset-gpios = <&gpio1 46 GPIO_ACTIVE_LOW>;
		write-only;
		#address-cells = <1>;
		#size-cells = <0>;

		epd0: epd@0 {
			compatible = "custom,ssd16xx-800x480";
			/* A partial pushes THREE 48 KB planes (prev->RED, new->BW,
			 * then the post-refresh re-sync new->RED) = 144 KB, so the
			 * clock dominates: 288 ms at 4 MHz, 115 ms at 10, ~29 ms
			 * here. Vendor + freeink both drive SSD1677 at 40 MHz.
			 * If images garble, step back down (10 MHz was verified
			 * clean on this board). */
			mipi-max-frequency = <40000000>;
			reg = <0>;
			status = "okay";
			width = <800>;
			height = <480>;
			busy-gpios = <&gpio0 3 GPIO_ACTIVE_HIGH>;
		};
	};
};

&usb_serial {
	status = "okay";
};

&uart0 {
	status = "okay";
	current-speed = <115200>;
	pinctrl-0 = <&uart0_default>;
	pinctrl-names = "default";
};

&gpio0 {
	status = "okay";
};

&gpio1 {
	status = "okay";
};

&i2c0 {
	status = "okay";
	clock-frequency = <I2C_BITRATE_STANDARD>;
	pinctrl-0 = <&i2c0_default>;
	pinctrl-names = "default";

	axp2101: axp2101@34 {
		compatible = "x-powers,axp2101";
		reg = <0x34>;
		status = "okay";

		regulators {
			compatible = "x-powers,axp2101-regulator";
			status = "okay";

			dcdc1_reg: dcdc1 {
				regulator-boot-on;
				status = "okay";
			};

			aldo1_reg: aldo1 {
				regulator-boot-on;
				status = "okay";
			};

			aldo2_reg: aldo2 {
				regulator-boot-on;
				status = "okay";
			};

			aldo3_reg: aldo3 {
				regulator-boot-on;
				status = "okay";
			};
		};

		charger: charger {
			compatible = "x-powers,axp2101-charger";
			constant-charge-current-max-microamp = <200000>;
			constant-charge-voltage-max-microvolt = <4200000>;
			status = "okay";
		};

		axp2101_led: led {
			compatible = "x-powers,axp2101-led";
			x-powers,mode = "type-a";
			status = "okay";
		};

		fuel_gauge: fuel_gauge {
			compatible = "x-powers,axp2101-fuel-gauge";
			status = "okay";
		};
	};
};

&spi2 {
	#address-cells = <1>;
	#size-cells = <0>;
	status = "okay";
	pinctrl-0 = <&spi2_epd_pins>;
	pinctrl-names = "default";
};

&wdt0 {
	status = "okay";
};

&trng0 {
	status = "okay";
};

/* N16R8: 16MB flash + 8MB OPI PSRAM */
&flash0 {
	reg = <0x0 DT_SIZE_M(16)>;
};

&psram0 {
	size = <DT_SIZE_M(8)>;
};
```

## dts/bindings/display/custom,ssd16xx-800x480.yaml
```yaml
# Copyright (c) 2026
# SPDX-License-Identifier: Apache-2.0

description: Custom SSD16xx-style 800x480 EPD controller using the init sequence
  validated in the existing ESP-IDF project.

compatible: "custom,ssd16xx-800x480"

include: [mipi-dbi-spi-device.yaml, display-controller.yaml]

properties:
  busy-gpios:
    type: phandle-array
    required: true
    description: Busy pin. This panel uses active-high busy signalling.
```

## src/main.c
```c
/*
 * LLSS e-Ink Client — boot and init only
 *
 * main() initialises the display, starts WiFi provisioning, and returns.
 * All application logic runs in two statically-defined threads:
 *   llss_thread    (llss_thread.c)   — state machine + API calls
 *   display_thread (display_thread.c) — LVGL rendering
 *
 * Board: eink_llss_esp32 (ESP32-S3 N16R8)
 * RTOS:  Zephyr 4.3.0
 */

#include <stdint.h>

#include <zephyr/kernel.h>
#include <zephyr/logging/log.h>
#include <zephyr/settings/settings.h>

#include "device_ui.h"
#include "display_thread.h"
#include "llss_thread.h"
#include "wifi_prov.h"

LOG_MODULE_REGISTER(main, LOG_LEVEL_INF);

int main(void)
{
	int32_t rc;

	k_msleep(1500); /* USB JTAG enumeration */

	LOG_INF("=== LLSS e-Ink Client v%s ===", CONFIG_LLSS_FIRMWARE_VERSION);

	ui_init();
	ui_log_push("=== LLSS e-Ink Client v" CONFIG_LLSS_FIRMWARE_VERSION " ===");
	rc = settings_subsys_init();
	if (rc) {
		LOG_ERR("settings_subsys_init failed: %d", rc);
	} else {
		rc = settings_load_subtree("alarm");
		if (rc) {
			LOG_ERR("settings_load_subtree(alarm) failed: %d", rc);
		} else {
			device_ui_settings_ready();
		}
	}

	wifi_prov_init(llss_on_wifi);
	wifi_prov_start();

	return 0;
}
```

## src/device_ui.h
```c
#ifndef DEVICE_UI_H_
#define DEVICE_UI_H_

#include <stdbool.h>
#include <lvgl.h>

#include "input_events.h"

/*
 * Device-local UI — boot log console, network status, clock, and alarm.
 *
 * Four LVGL screens (log, network, clock, alarm) live alongside the server-frame
 * screen.  Button routing: enqueue_event() in llss_thread calls
 * device_ui_handle_input() first; returning true means "consumed, do not
 * forward to the LLSS server."
 *
 * Trigger: ENTER LONG_PRESS from the main (server) screen opens the log.
 * ESC returns to main.  HL_LEFT / HL_RIGHT cycle
 * log → network → clock → alarm → log.
 */

/**
 * Initialise LVGL screen objects and start on the log screen.
 * Must be called from ui_init() after LVGL is up, with lvgl_mutex held.
 * @param main_scr  The pre-existing LVGL screen that will hold server frames.
 */
void device_ui_init(lv_obj_t *main_scr);

/**
 * Thread-safe.  Appends msg to the ring buffer; if the log screen is
 * currently active, signals the render thread to refresh.
 */
void device_ui_log_push(const char *msg);

/**
 * Called from enqueue_event() before a button goes to the LLSS server.
 * Returns true if the event was consumed (must not be forwarded).
 */
bool device_ui_handle_input(enum ui_btn btn, enum ui_evt evt);

/**
 * Returns true while any device-local screen is active (not the main screen).
 */
bool device_ui_is_active(void);

/**
 * Switch the active screen back to main (server frame).
 * Called by the display thread on the first received server frame.
 * Must be called with lvgl_mutex held.
 */
void device_ui_show_main(void);

#ifdef CONFIG_LLSS_EPD_TEST_SHELL
/** Test hook (`epd saver`): enter the screensaver immediately. */
void device_ui_force_saver(void);
#endif

/**
 * Called by the display thread (lvgl_mutex held) on every new server frame.
 * Resets the screensaver idle timer and counts the frame as pending
 * (unacknowledged until a keypress).  If the screensaver is currently showing,
 * switches back to the main screen (auto-return) and returns true so the caller
 * loads the main screen and does a full refresh.  Returns false otherwise.
 */
bool device_ui_note_server_frame(void);

/**
 * Called from the LLSS thread after settings_subsys_init() + settings_load().
 * Enables alarm persistence (settings_save_one calls before this are no-ops).
 */
void device_ui_settings_ready(void);

#endif /* DEVICE_UI_H_ */
```
